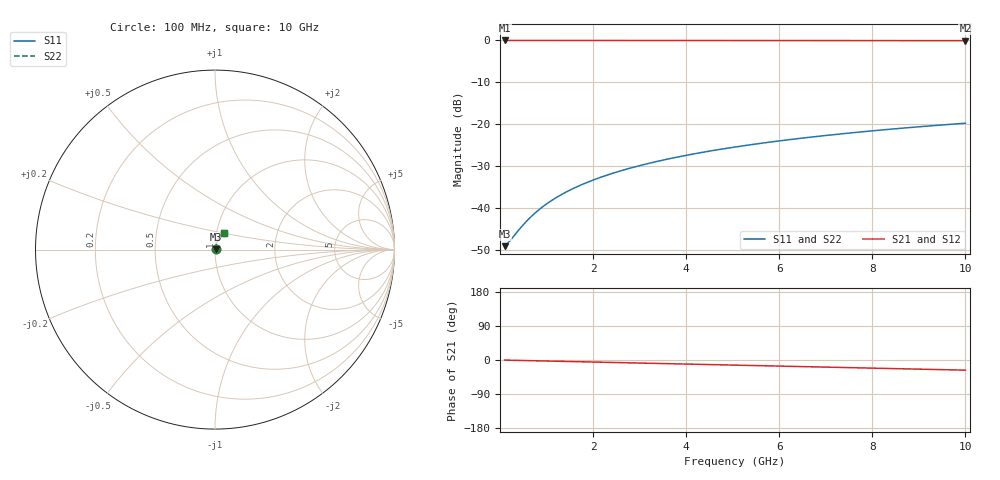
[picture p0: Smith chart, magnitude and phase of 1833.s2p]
# Hz S RI R 50.00
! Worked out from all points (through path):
!   100 points, 100 MHz to 10 GHz, reference 50 ohm
!   highest |S21| = -0.03 dB at 100 MHz (marker M1); lowest = -0.1 dB at 10 GHz (marker M2)
!   group delay of S21, straight-line fit = 7.45 ps
!   lowest |S11| = -49.0 dB at 100 MHz (marker M3), VSWR 1.01, Z = 50.3 + j0.106 ohm
!   |S11| at or under -10 dB: start of sweep to end of sweep
!   |S22| runs from -49.0 to -19.7 dB; largest |S21 - S12| = 0
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1e8  0.00338 0.00105  0.9966 -0.00466  0.9966 -0.00466  0.00338 0.00105
2e8  0.00341 0.00211  0.9966 -0.00932  0.9966 -0.00932  0.00341 0.00211
4e8  0.0035 0.00422  0.9964 -0.0186  0.9964 -0.0186  0.0035 0.00422
5e8  0.00355 0.00527  0.9963 -0.0233  0.9963 -0.0233  0.00355 0.00527
6e8  0.00361 0.00632  0.9961 -0.028  0.9961 -0.028  0.00361 0.00632
7e8  0.00369 0.00738  0.996 -0.0326  0.996 -0.0326  0.00369 0.00738
9e8  0.00386 0.00948  0.9956 -0.0419  0.9956 -0.0419  0.00386 0.00948
1.1e9  0.00407 0.0116  0.9951 -0.0512  0.9951 -0.0512  0.00407 0.0116
1.3e9  0.00431 0.0137  0.9945 -0.0605  0.9945 -0.0605  0.00431 0.0137
1.5e9  0.0046 0.0158  0.9939 -0.0698  0.9939 -0.0698  0.0046 0.0158
1.8e9  0.0051 0.0189  0.9927 -0.0838  0.9927 -0.0838  0.0051 0.0189
2.1e9  0.00568 0.022  0.9914 -0.0977  0.9914 -0.0977  0.00568 0.022
2.5e9  0.0066 0.0261  0.9892 -0.1162  0.9892 -0.1162  0.0066 0.0261
2.9e9  0.00767 0.0302  0.9867 -0.1347  0.9867 -0.1347  0.00767 0.0302
3.4e9  0.00921 0.0352  0.9831 -0.1577  0.9831 -0.1577  0.00921 0.0352
4.2e9  0.0122 0.0431  0.9762 -0.1943  0.9762 -0.1943  0.0122 0.0431
5.1e9  0.0162 0.0516  0.9666 -0.2352  0.9666 -0.2352  0.0162 0.0516
5.9e9  0.0204 0.0589  0.9566 -0.2711  0.9566 -0.2711  0.0204 0.0589
6.7e9  0.0251 0.0659  0.9453 -0.3065  0.9453 -0.3065  0.0251 0.0659
7.5e9  0.0303 0.0725  0.9325 -0.3415  0.9325 -0.3415  0.0303 0.0725
8.4e9  0.0367 0.0794  0.9166 -0.3802  0.9166 -0.3802  0.0367 0.0794
1e10  0.0496 0.0903  0.8842 -0.447  0.8842 -0.447  0.0496 0.0903
